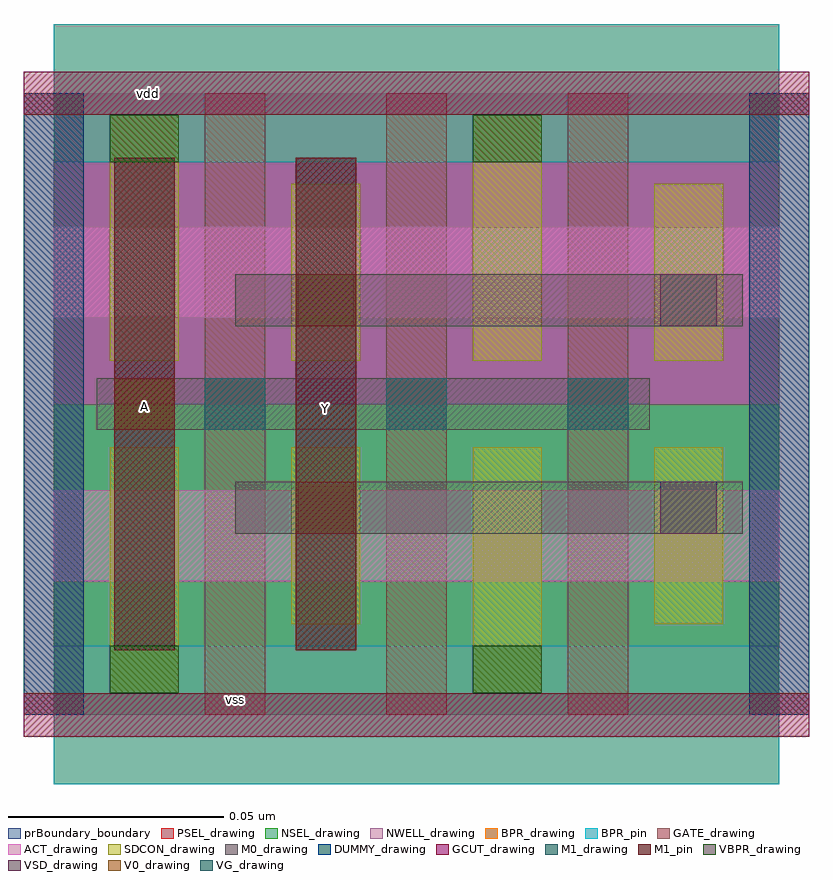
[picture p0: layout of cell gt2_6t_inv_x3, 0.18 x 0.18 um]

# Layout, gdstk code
import gdstk
lib = gdstk.Library(unit=1e-6, precision=5e-10)
def R(c, l, rs):  # rectangles x0, y0, x1, y1
    for r in rs: c.add(gdstk.rectangle(r[:2], r[2:], *l))
def A(c, l, x, y, w, h, nx, ny, dx, dy):  # array of equal rectangles
    R(c, l, [(x+i*dx, y+j*dy, x+i*dx+w, y+j*dy+h) for i in range(nx) for j in range(ny)])
NWELL_drawing = (1, 0)
ACT_drawing = (2, 0)
GATE_drawing = (3, 0)
DUMMY_drawing = (4, 0)
GCUT_drawing = (5, 0)
NSEL_drawing = (6, 0)
PSEL_drawing = (7, 0)
BPR_drawing = (8, 0)
BPR_pin = (8, 251)
VBPR_drawing = (9, 0)
SDCON_drawing = (10, 0)
VSD_drawing = (11, 0)
VG_drawing = (12, 0)
M0_drawing = (20, 0)
V0_drawing = (22, 0)
M1_drawing = (25, 0)
M1_pin = (25, 251)
prBoundary_boundary = (235, 250)

gt2_6t_inv_x3 = lib.new_cell('gt2_6t_inv_x3')
R(gt2_6t_inv_x3, NWELL_drawing, [(0,0.072,0.168,0.144)])
R(gt2_6t_inv_x3, ACT_drawing, [(0,0.031,0.168,0.052), (0,0.092,0.168,0.113)])
A(gt2_6t_inv_x3, GATE_drawing, -0.007, 0, 0.014, 0.144, 5, 1, 0.042, 0)
R(gt2_6t_inv_x3, DUMMY_drawing, [(-0.007,0,0.007,0.144), (0.161,0,0.175,0.144)])
R(gt2_6t_inv_x3, GCUT_drawing, [(-0.007,-0.005,0.175,0.005), (-0.007,0.139,0.175,0.149)])
R(gt2_6t_inv_x3, NSEL_drawing, [(0,0,0.168,0.072)])
R(gt2_6t_inv_x3, PSEL_drawing, [(0,0.072,0.168,0.144)])
R(gt2_6t_inv_x3, BPR_drawing, [(0,-0.016,0.168,0.016), (0,0.128,0.168,0.16)])
R(gt2_6t_inv_x3, BPR_pin, [(0,-0.016,0.168,0.016), (0,0.128,0.168,0.16)])
R(gt2_6t_inv_x3, VBPR_drawing, [(0.013,0.005,0.029,0.016), (0.097,0.005,0.113,0.016), (0.013,0.128,0.029,0.139), (0.097,0.128,0.113,0.139)])
R(gt2_6t_inv_x3, SDCON_drawing, [(0.013,0.005,0.029,0.062), (0.097,0.005,0.113,0.062), (0.055,0.021,0.071,0.062), (0.139,0.021,0.155,0.062), (0.013,0.082,0.029,0.139), (0.055,0.082,0.071,0.123), (0.097,0.082,0.113,0.139), (0.139,0.082,0.155,0.123)])
R(gt2_6t_inv_x3, VSD_drawing, [(0.0565,0.042,0.0695,0.054), (0.1405,0.042,0.1535,0.054), (0.0565,0.09,0.0695,0.102), (0.1405,0.09,0.1535,0.102)])
A(gt2_6t_inv_x3, VG_drawing, 0.035, 0.066, 0.014, 0.012, 3, 1, 0.042, 0)
R(gt2_6t_inv_x3, M0_drawing, [(0.042,0.042,0.1595,0.054), (0.01,0.066,0.138,0.078), (0.042,0.09,0.1595,0.102)])
R(gt2_6t_inv_x3, V0_drawing, [(0.056,0.042,0.07,0.054), (0.014,0.066,0.028,0.078), (0.056,0.09,0.07,0.102)])
R(gt2_6t_inv_x3, M1_drawing, [(0.014,0.015,0.028,0.129), (0.056,0.015,0.07,0.129)])
R(gt2_6t_inv_x3, M1_pin, [(0.014,0.015,0.028,0.129), (0.056,0.015,0.07,0.129)])
R(gt2_6t_inv_x3, prBoundary_boundary, [(0,0,0.168,0.144)])
gt2_6t_inv_x3.add(gdstk.Label('vss', (0.042,0.0035), layer=8, texttype=251))
gt2_6t_inv_x3.add(gdstk.Label('vdd', (0.022,0.144), layer=8, texttype=251))
gt2_6t_inv_x3.add(gdstk.Label('Y', (0.063,0.071), layer=25, texttype=251))
gt2_6t_inv_x3.add(gdstk.Label('A', (0.021,0.0715), layer=25, texttype=251))

lib.write_gds('gt2_6t_inv_x3.gds')
